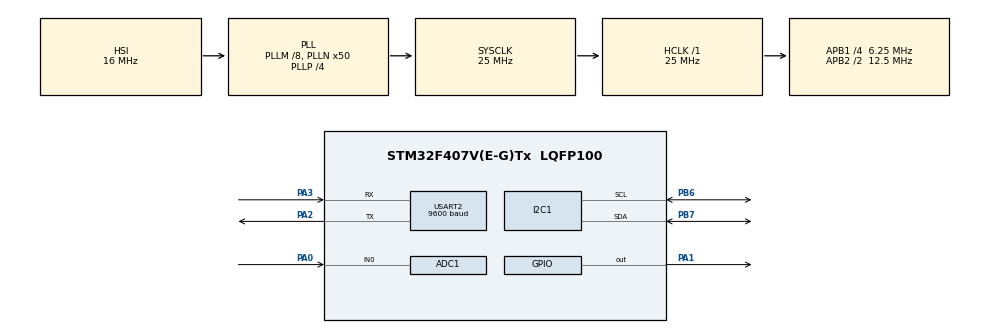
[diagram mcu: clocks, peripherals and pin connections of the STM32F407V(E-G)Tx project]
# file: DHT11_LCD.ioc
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ADC1.Channel-0\#ChannelRegularConversion=ADC_CHANNEL_0
ADC1.NbrOfConversionFlag=1
ADC1.Rank-0\#ChannelRegularConversion=1
ADC1.SamplingTime-0\#ChannelRegularConversion=ADC_SAMPLETIME_3CYCLES
ADC1.master=1
Mcu.Family=STM32F4
Mcu.Name=STM32F407V(E-G)Tx
Mcu.Package=LQFP100
NVIC.PriorityGroup=NVIC_PRIORITYGROUP_0
PA0-WKUP.Signal=ADCx_IN0
PA1.Signal=GPIO_Output
PA2.Mode=Asynchronous
PA2.Signal=USART2_TX
PA3.Mode=Asynchronous
PA3.Signal=USART2_RX
PB6.Mode=I2C
PB6.Signal=I2C1_SCL
PB7.Mode=I2C
PB7.Signal=I2C1_SDA
PH0-OSC_IN.Mode=HSE-External-Oscillator
PH0-OSC_IN.Signal=RCC_OSC_IN
PH1-OSC_OUT.Mode=HSE-External-Oscillator
PH1-OSC_OUT.Signal=RCC_OSC_OUT
ProjectManager.HeapSize=0x200
ProjectManager.StackSize=0x400
ProjectManager.TargetToolchain=STM32CubeIDE
RCC.48MHZClocksFreq_Value=14285714.285714285
RCC.AHBFreq_Value=25000000
RCC.APB1CLKDivider=RCC_HCLK_DIV4
RCC.APB1Freq_Value=6250000
RCC.APB1TimFreq_Value=12500000
RCC.APB2CLKDivider=RCC_HCLK_DIV2
RCC.APB2Freq_Value=12500000
RCC.APB2TimFreq_Value=25000000
RCC.CortexFreq_Value=25000000
RCC.HCLKFreq_Value=25000000
RCC.HSE_VALUE=8000000
RCC.HSI_VALUE=16000000
RCC.LSE_VALUE=32768
RCC.PLLM=8
RCC.PLLN=50
RCC.PLLP=RCC_PLLP_DIV4
RCC.PLLQ=7
RCC.SYSCLKFreq_VALUE=25000000
RCC.SYSCLKSource=RCC_SYSCLKSOURCE_PLLCLK
RCC.VCOOutputFreq_Value=100000000
SH.ADCx_IN0.0=ADC1_IN0,IN0
USART2.BaudRate=9600
USART2.VirtualMode=VM_ASYNC
board=STM32F407G-DISC1

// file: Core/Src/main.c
/* USER CODE BEGIN Header */
/**
  ******************************************************************************
  * @file           : main.c
  * @brief          : Main program body
  ******************************************************************************
  * @attention
  *
  * Copyright (c) 2025 STMicroelectronics.
  * All rights reserved.
  *
  * This software is licensed under terms that can be found in the LICENSE file
  * in the root directory of this software component.
  * If no LICENSE file comes with this software, it is provided AS-IS.
  *
  ******************************************************************************
  */
/* USER CODE END Header */
#include "main.h"
#include "DHT11.h"
#include "my_lcd.h"
#include <stdio.h>
#include <string.h>

ADC_HandleTypeDef hadc1;

I2C_HandleTypeDef hi2c1;

UART_HandleTypeDef huart2;

void SystemClock_Config(void);
static void MX_GPIO_Init(void);
static void MX_ADC1_Init(void);
static void MX_I2C1_Init(void);
static void MX_USART2_UART_Init(void);

int main(void)
{

  /* USER CODE BEGIN 1 */
	uint8_t temperature = 0;
	uint8_t humidity = 0;
    char msg[50];

  /* USER CODE END 1 */

  /* MCU Configuration--------------------------------------------------------*/

  /* Reset of all peripherals, Initializes the Flash interface and the Systick. */
  HAL_Init();

  /* Configure the system clock */
  SystemClock_Config();

  /* Initialize all configured peripherals */
  MX_GPIO_Init();
  MX_ADC1_Init();
  MX_I2C1_Init();
  MX_USART2_UART_Init();
  /* USER CODE BEGIN 2 */
 // HAL_UART_Transmit(&huart2, (uint8_t*)msg, strlen(msg), HAL_MAX_DELAY);
    DHT11_Init();
  /* USER CODE END 2 */

  /* Infinite loop */
  /* USER CODE BEGIN WHILE */
    if (!lcd16x2_i2c_init(&hi2c1))
          {
              // LCD not detected
              while(1);
           }

                lcd16x2_i2c_clear();
  while (1)
  {
    /* USER CODE END WHILE */

    /* USER CODE BEGIN 3 */
	 	 uint8_t status ;
	 	  status = DHT11_Read(&temperature, &humidity);
	 	   if(status == 0)
	 	   {
	 		  lcd16x2_i2c_clear();

	 		 lcd16x2_i2c_setCursor(0, 0);
	 		 sprintf(msg, "Temp: %d C", temperature);
	 		 lcd16x2_i2c_printf(msg);

	 		lcd16x2_i2c_setCursor(1, 0);
	        sprintf(msg, "Hum : %d %%", humidity);
	        lcd16x2_i2c_printf(msg);
	 	   }

	 	   HAL_Delay(2000);
  }
  /* USER CODE END 3 */
}

void SystemClock_Config(void)
{
  RCC_OscInitTypeDef RCC_OscInitStruct = {0};
  RCC_ClkInitTypeDef RCC_ClkInitStruct = {0};

  /** Configure the main internal regulator output voltage
  */
  __HAL_RCC_PWR_CLK_ENABLE();
  __HAL_PWR_VOLTAGESCALING_CONFIG(PWR_REGULATOR_VOLTAGE_SCALE1);

  /** Initializes the RCC Oscillators according to the specified parameters
  * in the RCC_OscInitTypeDef structure.
  */
  RCC_OscInitStruct.OscillatorType = RCC_OSCILLATORTYPE_HSI;
  RCC_OscInitStruct.HSIState = RCC_HSI_ON;
  RCC_OscInitStruct.HSICalibrationValue = RCC_HSICALIBRATION_DEFAULT;
  RCC_OscInitStruct.PLL.PLLState = RCC_PLL_ON;
  RCC_OscInitStruct.PLL.PLLSource = RCC_PLLSOURCE_HSI;
  RCC_OscInitStruct.PLL.PLLM = 8;
  RCC_OscInitStruct.PLL.PLLN = 50;
  RCC_OscInitStruct.PLL.PLLP = RCC_PLLP_DIV4;
  RCC_OscInitStruct.PLL.PLLQ = 7;
  if (HAL_RCC_OscConfig(&RCC_OscInitStruct) != HAL_OK)
  {
    Error_Handler();
  }

  /** Initializes the CPU, AHB and APB buses clocks
  */
  RCC_ClkInitStruct.ClockType = RCC_CLOCKTYPE_HCLK|RCC_CLOCKTYPE_SYSCLK
                              |RCC_CLOCKTYPE_PCLK1|RCC_CLOCKTYPE_PCLK2;
  RCC_ClkInitStruct.SYSCLKSource = RCC_SYSCLKSOURCE_PLLCLK;
  RCC_ClkInitStruct.AHBCLKDivider = RCC_SYSCLK_DIV1;
  RCC_ClkInitStruct.APB1CLKDivider = RCC_HCLK_DIV4;
  RCC_ClkInitStruct.APB2CLKDivider = RCC_HCLK_DIV2;

  if (HAL_RCC_ClockConfig(&RCC_ClkInitStruct, FLASH_LATENCY_0) != HAL_OK)
  {
    Error_Handler();
  }
}

static void MX_ADC1_Init(void)
{

  ADC_ChannelConfTypeDef sConfig = {0};

  /** Configure the global features of the ADC (Clock, Resolution, Data Alignment and number of conversion)
  */
  hadc1.Instance = ADC1;
  hadc1.Init.ClockPrescaler = ADC_CLOCK_SYNC_PCLK_DIV2;
  hadc1.Init.Resolution = ADC_RESOLUTION_12B;
  hadc1.Init.ScanConvMode = DISABLE;
  hadc1.Init.ContinuousConvMode = DISABLE;
  hadc1.Init.DiscontinuousConvMode = DISABLE;
  hadc1.Init.ExternalTrigConvEdge = ADC_EXTERNALTRIGCONVEDGE_NONE;
  hadc1.Init.ExternalTrigConv = ADC_SOFTWARE_START;
  hadc1.Init.DataAlign = ADC_DATAALIGN_RIGHT;
  hadc1.Init.NbrOfConversion = 1;
  hadc1.Init.DMAContinuousRequests = DISABLE;
  hadc1.Init.EOCSelection = ADC_EOC_SINGLE_CONV;
  if (HAL_ADC_Init(&hadc1) != HAL_OK)
  {
    Error_Handler();
  }

  /** Configure for the selected ADC regular channel its corresponding rank in the sequencer and its sample time.
  */
  sConfig.Channel = ADC_CHANNEL_0;
  sConfig.Rank = 1;
  sConfig.SamplingTime = ADC_SAMPLETIME_3CYCLES;
  if (HAL_ADC_ConfigChannel(&hadc1, &sConfig) != HAL_OK)
  {
    Error_Handler();
  }

}

static void MX_I2C1_Init(void)
{

  hi2c1.Instance = I2C1;
  hi2c1.Init.ClockSpeed = 100000;
  hi2c1.Init.DutyCycle = I2C_DUTYCYCLE_2;
  hi2c1.Init.OwnAddress1 = 0;
  hi2c1.Init.AddressingMode = I2C_ADDRESSINGMODE_7BIT;
  hi2c1.Init.DualAddressMode = I2C_DUALADDRESS_DISABLE;
  hi2c1.Init.OwnAddress2 = 0;
  hi2c1.Init.GeneralCallMode = I2C_GENERALCALL_DISABLE;
  hi2c1.Init.NoStretchMode = I2C_NOSTRETCH_DISABLE;
  if (HAL_I2C_Init(&hi2c1) != HAL_OK)
  {
    Error_Handler();
  }

}

static void MX_USART2_UART_Init(void)
{

  huart2.Instance = USART2;
  huart2.Init.BaudRate = 9600;
  huart2.Init.WordLength = UART_WORDLENGTH_8B;
  huart2.Init.StopBits = UART_STOPBITS_1;
  huart2.Init.Parity = UART_PARITY_NONE;
  huart2.Init.Mode = UART_MODE_TX_RX;
  huart2.Init.HwFlowCtl = UART_HWCONTROL_NONE;
  huart2.Init.OverSampling = UART_OVERSAMPLING_16;
  if (HAL_UART_Init(&huart2) != HAL_OK)
  {
    Error_Handler();
  }

}

static void MX_GPIO_Init(void)
{
  GPIO_InitTypeDef GPIO_InitStruct = {0};

  /* GPIO Ports Clock Enable */
  __HAL_RCC_GPIOH_CLK_ENABLE();
  __HAL_RCC_GPIOA_CLK_ENABLE();
  __HAL_RCC_GPIOB_CLK_ENABLE();

  /*Configure GPIO pin Output Level */
  HAL_GPIO_WritePin(GPIOA, GPIO_PIN_1, GPIO_PIN_RESET);

  /*Configure GPIO pin : PA1 */
  GPIO_InitStruct.Pin = GPIO_PIN_1;
  GPIO_InitStruct.Mode = GPIO_MODE_OUTPUT_PP;
  GPIO_InitStruct.Pull = GPIO_NOPULL;
  GPIO_InitStruct.Speed = GPIO_SPEED_FREQ_LOW;
  HAL_GPIO_Init(GPIOA, &GPIO_InitStruct);

}

void Error_Handler(void)
{
  __disable_irq();
  while (1)
  {
  }
}
